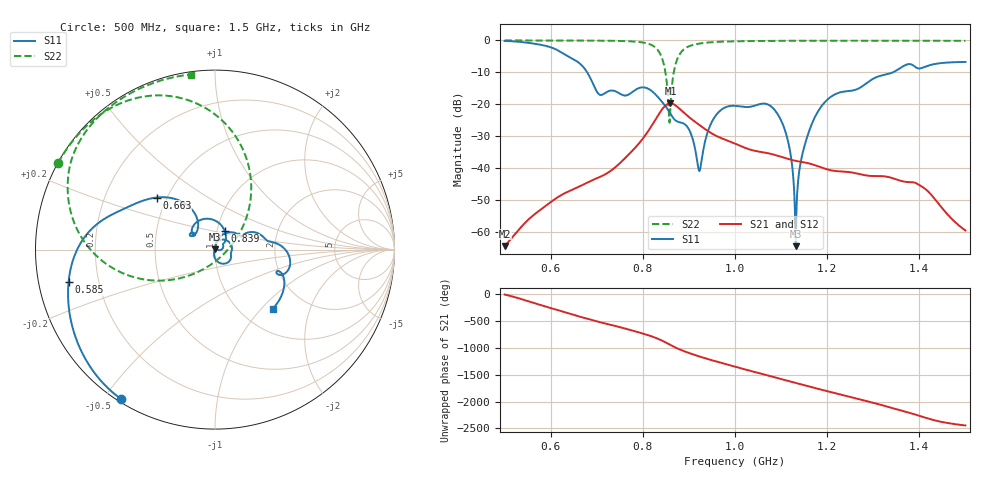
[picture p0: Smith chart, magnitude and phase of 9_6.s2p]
! TOUCHSTONE file generated by CST MICROWAVE STUDIO
! Date and time: Sat Oct 24 11:43:48 2020
! Project name: Scenario_1_Circular_Tissue_out_of_Line.cst
! Parameters = {dy1=-207.272; L_HA=400; MT=2.54; Rad_Dielectric=30; Rad_Lower=7.3; Rad_Upper=30; a_HA=580; a_WG=246; b_HA=500; b_WG=121; c_HA=0; c_WG=187; d_feed=85; dx1=1039; h_feed=15; h_lower=18; h_upper=40}
! Header version: 2018
! Port assignment regex: !\s*Touchstone port\s*([0-9]+)\s*=\s*(CST MWS port|CST DS port)\s*([0-9]+|Zmin|Zmax)\s*\(\"(.*)\"\)(\s*mode\s*([0-9]+))?.*
! Touchstone port assignment:
! Touchstone port 1 = CST MWS port 1 ("")
! Touchstone port 2 = CST MWS port 2 ("")
# GHz S DB R 50
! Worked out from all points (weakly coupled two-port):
!   1001 points, 500 MHz to 1.5 GHz, reference 50 ohm
!   highest |S21| = -19.69 dB at 860 MHz (marker M1); lowest = -64.3 dB at 500 MHz (marker M2)
!   lowest |S11| = -64.4 dB at 1.132 GHz (marker M3), VSWR 1.00, Z = 50 + j0.0571 ohm
!   |S11| at or under -10 dB: 679.2 MHz to 1.342 GHz (663.3 MHz wide, 65.6 % of centre)
!   |S22| runs from -25.7 to 0.0 dB; largest |S21 - S12| = 1.4e-05
!   S11 on the Smith chart (normalised r, x): 500 MHz: 0.01, -0.55; 585 MHz: 0.09, -0.11; 663 MHz: 0.44, +0.32; 839 MHz: 1.09, +0.22; 1.5 GHz: 1.38, -1.16
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0.5  -0.15 -122.3  -64.34 -5.3  -64.34 -5.3  -0.01 151.1
0.585  -1.56 -167.5  -52.24 141.5  -52.24 141.5  -0.02 145.2
0.663  -7.22 138.2  -45.66 -56.9  -45.66 -56.9  -0.04 138.7
0.667  -7.75 134.6  -45.38 -66.5  -45.38 -66.5  -0.04 138.3
0.707  -17.04 137.8  -42.73 -160.6  -42.73 -160.6  -0.07 134.0
0.788  -15.13 136.1  -32.83 17.8  -32.83 17.8  -0.43 117.6
0.834  -17.93 68.2  -23.23 -114.2  -23.23 -114.2  -3.33 83.3
0.839  -18.77 61.7  -22.13 -133.4  -22.13 -133.4  -4.63 75.1
0.86  -22.97 38.4  -19.69 134.0  -19.69 134.0  -20.65 -108.6
0.878  -25.53 33.6  -21.18 58.9  -21.18 58.9  -4.81 -169.4
0.902  -28.41 2.1  -24.22 -19.9  -24.22 -19.9  -1.72 166.7
0.923  -40.87 40.4  -26.51 -80.0  -26.51 -80.0  -0.97 156.7
0.953  -24.64 63.5  -29.40 -157.0  -29.40 -157.0  -0.52 148.3
1  -20.47 3.3  -32.29 89.6  -32.29 89.6  -0.27 140.2
1.093  -23.17 -77.1  -36.11 -124.4  -36.11 -124.4  -0.13 130.3
1.117  -32.80 -104.0  -37.19 -178.9  -37.19 -178.9  -0.11 128.2
1.132  -64.41 108.2  -37.71 147.9  -37.71 147.9  -0.11 127.0
1.145  -36.39 75.5  -38.04 118.8  -38.04 118.8  -0.10 125.9
1.167  -26.04 77.0  -38.75 67.6  -38.75 67.6  -0.10 124.2
1.211  -17.36 45.3  -40.73 -27.6  -40.73 -27.6  -0.09 120.8
1.334  -10.45 9.0  -42.80 56.4  -42.80 56.4  -0.09 111.5
1.5  -6.73 -45.9  -59.49 75.1  -59.44 74.4  -0.13 97.9
